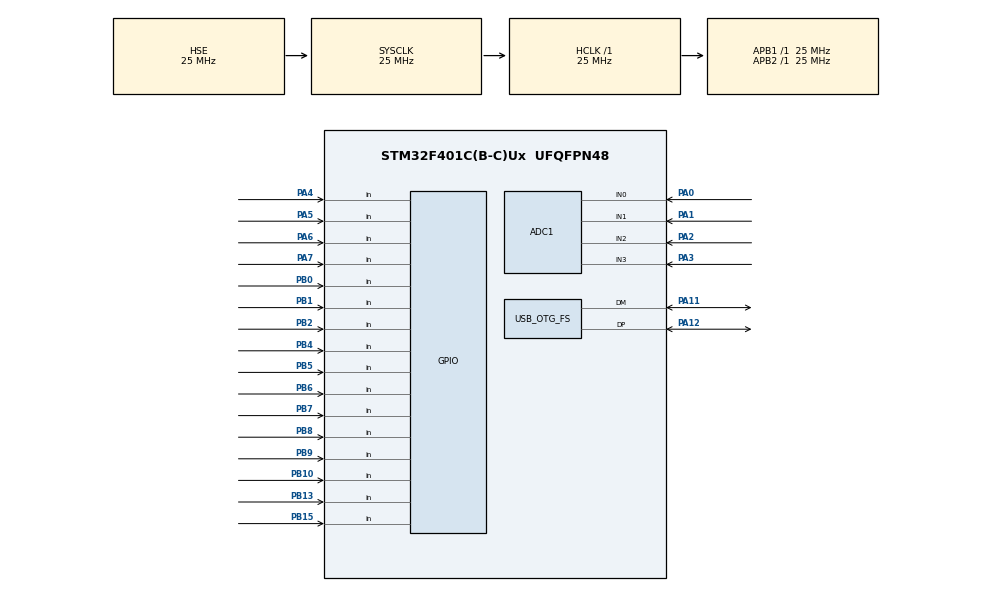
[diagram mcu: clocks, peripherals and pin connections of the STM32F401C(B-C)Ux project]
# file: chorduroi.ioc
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ADC1.Channel-0\#ChannelRegularConversion=ADC_CHANNEL_0
ADC1.Channel-1\#ChannelRegularConversion=ADC_CHANNEL_1
ADC1.Channel-2\#ChannelRegularConversion=ADC_CHANNEL_2
ADC1.Channel-3\#ChannelRegularConversion=ADC_CHANNEL_3
ADC1.ClockPrescaler=ADC_CLOCK_SYNC_PCLK_DIV4
ADC1.ContinuousConvMode=ENABLE
ADC1.DMAContinuousRequests=ENABLE
ADC1.DataAlign=ADC_DATAALIGN_RIGHT
ADC1.EOCSelection=ADC_EOC_SEQ_CONV
ADC1.NbrOfConversion=4
ADC1.NbrOfConversionFlag=1
ADC1.Rank-0\#ChannelRegularConversion=1
ADC1.Rank-1\#ChannelRegularConversion=2
ADC1.Rank-2\#ChannelRegularConversion=3
ADC1.Rank-3\#ChannelRegularConversion=4
ADC1.SamplingTime-0\#ChannelRegularConversion=ADC_SAMPLETIME_112CYCLES
ADC1.SamplingTime-1\#ChannelRegularConversion=ADC_SAMPLETIME_112CYCLES
ADC1.SamplingTime-2\#ChannelRegularConversion=ADC_SAMPLETIME_112CYCLES
ADC1.SamplingTime-3\#ChannelRegularConversion=ADC_SAMPLETIME_112CYCLES
ADC1.ScanConvMode=ENABLE
ADC1.master=1
Dma.ADC1.0.Direction=DMA_PERIPH_TO_MEMORY
Dma.ADC1.0.FIFOMode=DMA_FIFOMODE_DISABLE
Dma.ADC1.0.Instance=DMA2_Stream0
Dma.ADC1.0.MemDataAlignment=DMA_MDATAALIGN_WORD
Dma.ADC1.0.MemInc=DMA_MINC_ENABLE
Dma.ADC1.0.Mode=DMA_CIRCULAR
Dma.ADC1.0.PeriphDataAlignment=DMA_PDATAALIGN_WORD
Dma.ADC1.0.PeriphInc=DMA_PINC_DISABLE
Dma.ADC1.0.Priority=DMA_PRIORITY_MEDIUM
Dma.Request0=ADC1
Mcu.Family=STM32F4
Mcu.Name=STM32F401C(B-C)Ux
Mcu.Package=UFQFPN48
NVIC.DMA2_Stream0_IRQn=true\:0\:0\:false\:false\:true\:false\:true\:true
NVIC.OTG_FS_IRQn=true\:0\:0\:false\:false\:true\:false\:true\:true
NVIC.PriorityGroup=NVIC_PRIORITYGROUP_4
PA0-WKUP.Signal=ADCx_IN0
PA1.Signal=ADCx_IN1
PA11.Mode=Device_Only
PA11.Signal=USB_OTG_FS_DM
PA12.Mode=Device_Only
PA12.Signal=USB_OTG_FS_DP
PA13.Mode=Serial_Wire
PA13.Signal=SYS_JTMS-SWDIO
PA14.Mode=Serial_Wire
PA14.Signal=SYS_JTCK-SWCLK
PA2.Signal=ADCx_IN2
PA3.Signal=ADCx_IN3
PA4.GPIO_PuPd=GPIO_PULLUP
PA4.Signal=GPIO_Input
PA5.GPIO_PuPd=GPIO_PULLUP
PA5.Signal=GPIO_Input
PA6.GPIO_PuPd=GPIO_PULLUP
PA6.Signal=GPIO_Input
PA7.GPIO_PuPd=GPIO_PULLUP
PA7.Signal=GPIO_Input
PB0.GPIO_PuPd=GPIO_PULLUP
PB0.Signal=GPIO_Input
PB1.GPIO_PuPd=GPIO_PULLUP
PB1.Signal=GPIO_Input
PB10.GPIO_PuPd=GPIO_PULLUP
PB10.Signal=GPIO_Input
PB13.GPIO_PuPd=GPIO_PULLUP
PB13.Signal=GPIO_Input
PB15.GPIO_PuPd=GPIO_PULLUP
PB15.Signal=GPIO_Input
PB2.GPIO_PuPd=GPIO_PULLUP
PB2.Signal=GPIO_Input
PB4.GPIO_PuPd=GPIO_PULLUP
PB4.Signal=GPIO_Input
PB5.GPIO_PuPd=GPIO_PULLUP
PB5.Signal=GPIO_Input
PB6.GPIO_PuPd=GPIO_PULLUP
PB6.Signal=GPIO_Input
PB7.GPIO_PuPd=GPIO_PULLUP
PB7.Signal=GPIO_Input
PB8.GPIO_PuPd=GPIO_PULLUP
PB8.Signal=GPIO_Input
PB9.GPIO_PuPd=GPIO_PULLUP
PB9.Signal=GPIO_Input
PH0\ -\ OSC_IN.Mode=HSE-External-Oscillator
PH0\ -\ OSC_IN.Signal=RCC_OSC_IN
PH1\ -\ OSC_OUT.Mode=HSE-External-Oscillator
PH1\ -\ OSC_OUT.Signal=RCC_OSC_OUT
ProjectManager.HeapSize=0x200
ProjectManager.StackSize=0x400
ProjectManager.TargetToolchain=STM32CubeIDE
RCC.48MHZClocksFreq_Value=48000000
RCC.AHBFreq_Value=25000000
RCC.APB1Freq_Value=25000000
RCC.APB1TimFreq_Value=25000000
RCC.APB2Freq_Value=25000000
RCC.APB2TimFreq_Value=25000000
RCC.CortexFreq_Value=25000000
RCC.HCLKFreq_Value=25000000
RCC.HSE_VALUE=25000000
RCC.HSI_VALUE=16000000
RCC.LSE_VALUE=32768
RCC.PLLM=15
RCC.PLLN=144
RCC.PLLQ=5
RCC.SYSCLKFreq_VALUE=25000000
RCC.SYSCLKSource=RCC_SYSCLKSOURCE_HSE
RCC.VCOOutputFreq_Value=240000000
SH.ADCx_IN0.0=ADC1_IN0,IN0
SH.ADCx_IN1.0=ADC1_IN1,IN1
SH.ADCx_IN2.0=ADC1_IN2,IN2
SH.ADCx_IN3.0=ADC1_IN3,IN3
USB_DEVICE.CLASS_NAME_FS=HID
USB_DEVICE.PRODUCT_STRING_HID_FS=STM32 Chorded Keyboard
USB_DEVICE.VirtualMode=Hid
USB_DEVICE.VirtualModeFS=Hid_FS
USB_OTG_FS.VirtualMode=Device_Only
VP_USB_DEVICE_VS_USB_DEVICE_HID_FS.Mode=HID_FS
board=custom

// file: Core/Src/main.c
/* USER CODE BEGIN Header */
/**
  ******************************************************************************
  * @file           : main.c
  * @brief          : Main program body
  ******************************************************************************
  * @attention
  *
  * Copyright (c) 2022 STMicroelectronics.
  * All rights reserved.
  *
  * This software is licensed under terms that can be found in the LICENSE file
  * in the root directory of this software component.
  * If no LICENSE file comes with this software, it is provided AS-IS.
  *
  ******************************************************************************
  */
/* USER CODE END Header */
#include "main.h"
#include "usb_device.h"

/* USER CODE BEGIN Includes */
#include "usbd_hid.h"
//#include "joy_util.h"
#include "keyb_util.h"
#include <extern_util.h>
#include "layer_util.h"
#include <stdio.h>

/* USER CODE END Includes */

 ADC_HandleTypeDef hadc1;
DMA_HandleTypeDef hdma_adc1;

void SystemClock_Config(void);
static void MX_GPIO_Init(void);
static void MX_ADC1_Init(void);
static void MX_DMA_Init(void);

int main(void)
{

  /* MCU Configuration--------------------------------------------------------*/

  /* Reset of all peripherals, Initializes the Flash interface and the Systick. */
  HAL_Init();

  /* Configure the system clock */
  SystemClock_Config();

  /* Initialize all configured peripherals */
  MX_GPIO_Init();
  MX_DMA_Init();
  MX_ADC1_Init();

  MX_USB_DEVICE_Init();
  /* USER CODE BEGIN 2 */

  	// DMA BUFF
	uint32_t analogIn[4];

	// Init and configure the joysticks.

	joystick rightStick;
	rightStick.xAxis = &analogIn[0];// joystick structs point directly to the buffer data
	rightStick.yAxis = &analogIn[2];
	rightStick.xNeutral = 2000;
	rightStick.yNeutral = 2000;
	rightStick.xPolarity = -1;
	rightStick.yPolarity = -1;

	joystick leftStick;
	leftStick.xAxis = &analogIn[1];
	leftStick.yAxis = &analogIn[3];
	leftStick.xNeutral = 2000;
	leftStick.yNeutral = 2000;
	leftStick.yPolarity = 1;
	leftStick.xPolarity = 1;

	// Joystick threshold, fornow uniform. TODO granular struct
	uint32_t tresh = 600;

	// Init Layer byteID and active layer handle

	joystate byteID;
	joystate* layerByteID = &byteID;
	*layerByteID = 0;

	Layer* layerHandle = (Layer*)keymap[1];
	const Layer** keymapRef = &keymap[0];

	int actvLayerNum = 0;

	// Array of key and pin states

	uint8_t pinStates[NUMBER_OF_KEYS] = {1, 1, 1, 1,     1, 1, 1, 1,
			                             1, 1, 1, 1,     1, 1, 1, 1};
	int isHold[NUMBER_OF_KEYS] = {0, 0, 0, 0,     0, 0, 0, 0,
			                      0, 0, 0, 0,     0, 0, 0, 0};
	// Keyboard HID report
	keyboardHIDReport kReport = {0, 0, 0, 0, 0, 0, 0, 0};
	keyboardHIDReport* pReport = &kReport;

	// Start the DMA
	HAL_ADC_Start_DMA(&hadc1, analogIn, 4);

  /* USER CODE END 2 */

  /* Infinite loop */
  while (1)
  {

    /* USER CODE BEGIN 3 */

	  // Set the layer ID
	  setByteID(&leftStick, &rightStick, layerByteID, &tresh);

	  // Set the active layer number
	  actvLayerNum = bitmaskToLayer(layerByteID);

	  // Get the pointer handle updated with the current active layer
	  layerHandle = layerNumToRef(keymapRef, actvLayerNum);

	  // check pressed keys
	  checkKeyPins(&pinStates[0]);

	  // Check and set all keyboard related reports
	  // Seems to work until using keymap[0]as the starting point???
	  scanKeys(keymapRef, layerHandle, &isHold[0], pinStates, pReport);

	  // send report
	  USBD_HID_SendReport(&hUsbDeviceFS, pReport, sizeof(kReport));
	  // wait?
		  HAL_Delay(10);

	  // Clear report
	  clearReport(pReport);

  }
  /* USER CODE END 3 */
}

void SystemClock_Config(void)
{
  RCC_OscInitTypeDef RCC_OscInitStruct = {0};
  RCC_ClkInitTypeDef RCC_ClkInitStruct = {0};

  /** Configure the main internal regulator output voltage
  */
  __HAL_RCC_PWR_CLK_ENABLE();
  __HAL_PWR_VOLTAGESCALING_CONFIG(PWR_REGULATOR_VOLTAGE_SCALE2);

  /** Initializes the RCC Oscillators according to the specified parameters
  * in the RCC_OscInitTypeDef structure.
  */
  RCC_OscInitStruct.OscillatorType = RCC_OSCILLATORTYPE_HSE;
  RCC_OscInitStruct.HSEState = RCC_HSE_ON;
  RCC_OscInitStruct.PLL.PLLState = RCC_PLL_ON;
  RCC_OscInitStruct.PLL.PLLSource = RCC_PLLSOURCE_HSE;
  RCC_OscInitStruct.PLL.PLLM = 15;
  RCC_OscInitStruct.PLL.PLLN = 144;
  RCC_OscInitStruct.PLL.PLLP = RCC_PLLP_DIV2;
  RCC_OscInitStruct.PLL.PLLQ = 5;
  if (HAL_RCC_OscConfig(&RCC_OscInitStruct) != HAL_OK)
  {
    Error_Handler();
  }

  /** Initializes the CPU, AHB and APB buses clocks
  */
  RCC_ClkInitStruct.ClockType = RCC_CLOCKTYPE_HCLK|RCC_CLOCKTYPE_SYSCLK
                              |RCC_CLOCKTYPE_PCLK1|RCC_CLOCKTYPE_PCLK2;
  RCC_ClkInitStruct.SYSCLKSource = RCC_SYSCLKSOURCE_HSE;
  RCC_ClkInitStruct.AHBCLKDivider = RCC_SYSCLK_DIV1;
  RCC_ClkInitStruct.APB1CLKDivider = RCC_HCLK_DIV1;
  RCC_ClkInitStruct.APB2CLKDivider = RCC_HCLK_DIV1;

  if (HAL_RCC_ClockConfig(&RCC_ClkInitStruct, FLASH_LATENCY_0) != HAL_OK)
  {
    Error_Handler();
  }
}

static void MX_ADC1_Init(void)
{

  ADC_ChannelConfTypeDef sConfig = {0};

  /** Configure the global features of the ADC (Clock, Resolution, Data Alignment and number of conversion)
  */
  hadc1.Instance = ADC1;
  hadc1.Init.ClockPrescaler = ADC_CLOCK_SYNC_PCLK_DIV4;
  hadc1.Init.Resolution = ADC_RESOLUTION_12B;
  hadc1.Init.ScanConvMode = ENABLE;
  hadc1.Init.ContinuousConvMode = ENABLE;
  hadc1.Init.DiscontinuousConvMode = DISABLE;
  hadc1.Init.ExternalTrigConvEdge = ADC_EXTERNALTRIGCONVEDGE_NONE;
  hadc1.Init.ExternalTrigConv = ADC_SOFTWARE_START;
  hadc1.Init.DataAlign = ADC_DATAALIGN_RIGHT;
  hadc1.Init.NbrOfConversion = 4;
  hadc1.Init.DMAContinuousRequests = ENABLE;
  hadc1.Init.EOCSelection = ADC_EOC_SEQ_CONV;
  if (HAL_ADC_Init(&hadc1) != HAL_OK)
  {
    Error_Handler();
  }

  /** Configure for the selected ADC regular channel its corresponding rank in the sequencer and its sample time.
  */
  sConfig.Channel = ADC_CHANNEL_0;
  sConfig.Rank = 1;
  sConfig.SamplingTime = ADC_SAMPLETIME_112CYCLES;
  if (HAL_ADC_ConfigChannel(&hadc1, &sConfig) != HAL_OK)
  {
    Error_Handler();
  }

  /** Configure for the selected ADC regular channel its corresponding rank in the sequencer and its sample time.
  */
  sConfig.Channel = ADC_CHANNEL_1;
  sConfig.Rank = 2;
  if (HAL_ADC_ConfigChannel(&hadc1, &sConfig) != HAL_OK)
  {
    Error_Handler();
  }

  /** Configure for the selected ADC regular channel its corresponding rank in the sequencer and its sample time.
  */
  sConfig.Channel = ADC_CHANNEL_2;
  sConfig.Rank = 3;
  if (HAL_ADC_ConfigChannel(&hadc1, &sConfig) != HAL_OK)
  {
    Error_Handler();
  }

  /** Configure for the selected ADC regular channel its corresponding rank in the sequencer and its sample time.
  */
  sConfig.Channel = ADC_CHANNEL_3;
  sConfig.Rank = 4;
  if (HAL_ADC_ConfigChannel(&hadc1, &sConfig) != HAL_OK)
  {
    Error_Handler();
  }

}

static void MX_DMA_Init(void)
{

  /* DMA controller clock enable */
  __HAL_RCC_DMA2_CLK_ENABLE();

  /* DMA interrupt init */
  /* DMA2_Stream0_IRQn interrupt configuration */
  HAL_NVIC_SetPriority(DMA2_Stream0_IRQn, 0, 0);
  HAL_NVIC_EnableIRQ(DMA2_Stream0_IRQn);

}

static void MX_GPIO_Init(void)
{
  GPIO_InitTypeDef GPIO_InitStruct = {0};

  /* GPIO Ports Clock Enable */
  __HAL_RCC_GPIOH_CLK_ENABLE();
  __HAL_RCC_GPIOA_CLK_ENABLE();
  __HAL_RCC_GPIOB_CLK_ENABLE();

  /*Configure GPIO pins : PA4 PA5 PA6 PA7 */
  GPIO_InitStruct.Pin = GPIO_PIN_4|GPIO_PIN_5|GPIO_PIN_6|GPIO_PIN_7;
  GPIO_InitStruct.Mode = GPIO_MODE_INPUT;
  GPIO_InitStruct.Pull = GPIO_PULLUP;
  HAL_GPIO_Init(GPIOA, &GPIO_InitStruct);

  /*Configure GPIO pins : PB0 PB1 PB2 PB10
                           PB13 PB15 PB4 PB5
                           PB6 PB7 PB8 PB9 */
  GPIO_InitStruct.Pin = GPIO_PIN_0|GPIO_PIN_1|GPIO_PIN_2|GPIO_PIN_10
                          |GPIO_PIN_13|GPIO_PIN_15|GPIO_PIN_4|GPIO_PIN_5
                          |GPIO_PIN_6|GPIO_PIN_7|GPIO_PIN_8|GPIO_PIN_9;
  GPIO_InitStruct.Mode = GPIO_MODE_INPUT;
  GPIO_InitStruct.Pull = GPIO_PULLUP;
  HAL_GPIO_Init(GPIOB, &GPIO_InitStruct);

}

void Error_Handler(void)
{
  __disable_irq();
  while (1)
  {
  }
}
